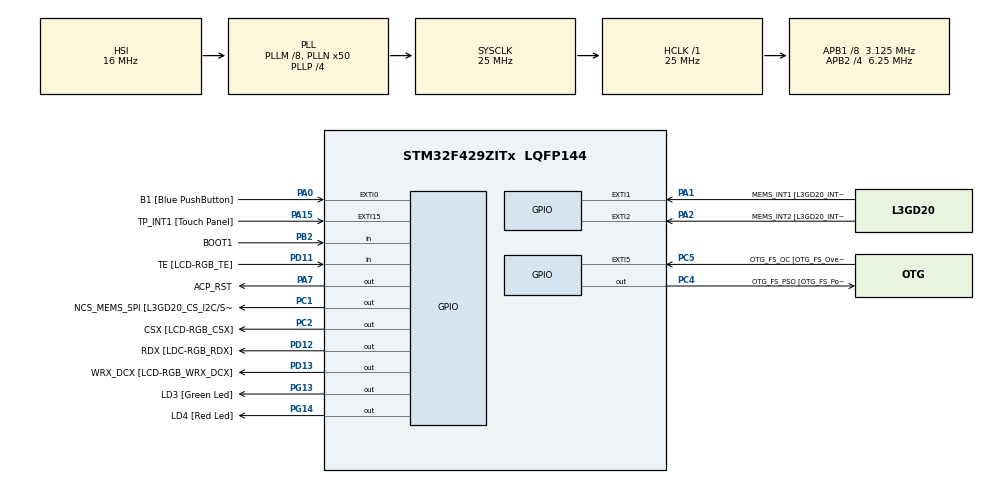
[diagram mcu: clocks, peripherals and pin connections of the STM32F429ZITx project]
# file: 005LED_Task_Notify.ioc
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Mcu.Family=STM32F4
Mcu.Name=STM32F429ZITx
Mcu.Package=LQFP144
NVIC.PriorityGroup=NVIC_PRIORITYGROUP_4
NVIC.TIM6_DAC_IRQn=true\:0\:0\:false\:false\:true\:false\:true
NVIC.TimeBase=TIM6_DAC_IRQn
NVIC.TimeBaseIP=TIM6
PA0/WKUP.GPIO_Label=B1 [Blue PushButton]
PA0/WKUP.GPIO_ModeDefaultEXTI=GPIO_MODE_EVT_RISING
PA0/WKUP.GPIO_PuPd=GPIO_NOPULL
PA0/WKUP.Signal=GPXTI0
PA1.GPIO_Label=MEMS_INT1 [L3GD20_INT1]
PA1.GPIO_ModeDefaultEXTI=GPIO_MODE_EVT_RISING
PA1.GPIO_PuPd=GPIO_NOPULL
PA1.Signal=GPXTI1
PA10.GPIO_Label=STLINK_TX [STM32F103CBT6_PA2]
PA10.Signal=USART1_RX
PA11.GPIO_Label=R4
PA11.GPIO_Mode=GPIO_MODE_AF_PP
PA11.GPIO_PuPd=GPIO_NOPULL
PA11.GPIO_Speed=GPIO_SPEED_FREQ_LOW
PA11.Signal=LTDC_R4
PA12.GPIO_Label=R5
PA12.GPIO_Mode=GPIO_MODE_AF_PP
PA12.GPIO_PuPd=GPIO_NOPULL
PA12.GPIO_Speed=GPIO_SPEED_FREQ_LOW
PA12.Signal=LTDC_R5
PA13.GPIO_Label=SWDIO
PA13.Signal=SYS_JTMS-SWDIO
PA14.GPIO_Label=SWCLK
PA14.Signal=SYS_JTCK-SWCLK
PA15.GPIO_Label=TP_INT1 [Touch Panel]
PA15.GPIO_ModeDefaultEXTI=GPIO_MODE_EVT_RISING
PA15.GPIO_PuPd=GPIO_NOPULL
PA15.Signal=GPXTI15
PA2.GPIO_Label=MEMS_INT2 [L3GD20_INT2]
PA2.GPIO_ModeDefaultEXTI=GPIO_MODE_EVT_RISING
PA2.GPIO_PuPd=GPIO_NOPULL
PA2.Signal=GPXTI2
PA3.GPIO_Label=B5
PA3.GPIO_Mode=GPIO_MODE_AF_PP
PA3.GPIO_PuPd=GPIO_NOPULL
PA3.GPIO_Speed=GPIO_SPEED_FREQ_LOW
PA3.Signal=LTDC_B5
PA4.GPIO_Label=VSYNC
PA4.GPIO_Mode=GPIO_MODE_AF_PP
PA4.GPIO_PuPd=GPIO_NOPULL
PA4.GPIO_Speed=GPIO_SPEED_FREQ_LOW
PA4.Signal=LTDC_VSYNC
PA6.GPIO_Label=G2
PA6.GPIO_Mode=GPIO_MODE_AF_PP
PA6.GPIO_PuPd=GPIO_NOPULL
PA6.GPIO_Speed=GPIO_SPEED_FREQ_LOW
PA6.Signal=LTDC_G2
PA7.GPIO_Label=ACP_RST
PA7.GPIO_Mode=GPIO_MODE_OUTPUT_PP
PA7.GPIO_PuPd=GPIO_NOPULL
PA7.GPIO_Speed=GPIO_SPEED_FREQ_LOW
PA7.Signal=GPIO_Output
PA8.GPIO_Label=I2C3_SCL [ACP/RF_SCL]
PA8.GPIO_Mode=GPIO_MODE_AF_OD
PA8.GPIO_PuPd=GPIO_NOPULL
PA8.GPIO_Speed=GPIO_SPEED_FREQ_LOW
PA8.Signal=I2C3_SCL
PA9.GPIO_Label=STLINK_RX [STM32F103CBT6_PA3]
PA9.Signal=USART1_TX
PB0.GPIO_Label=R3
PB0.GPIO_Mode=GPIO_MODE_AF_PP
PB0.GPIO_PuPd=GPIO_NOPULL
PB0.GPIO_Speed=GPIO_SPEED_FREQ_LOW
PB0.Signal=LTDC_R3
PB1.GPIO_Label=R6
PB1.GPIO_Mode=GPIO_MODE_AF_PP
PB1.GPIO_PuPd=GPIO_NOPULL
PB1.GPIO_Speed=GPIO_SPEED_FREQ_LOW
PB1.Signal=LTDC_R6
PB10.GPIO_Label=G4
PB10.GPIO_Mode=GPIO_MODE_AF_PP
PB10.GPIO_PuPd=GPIO_NOPULL
PB10.GPIO_Speed=GPIO_SPEED_FREQ_LOW
PB10.Signal=LTDC_G4
PB11.GPIO_Label=G5
PB11.GPIO_Mode=GPIO_MODE_AF_PP
PB11.GPIO_PuPd=GPIO_NOPULL
PB11.GPIO_Speed=GPIO_SPEED_FREQ_LOW
PB11.Signal=LTDC_G5
PB12.GPIO_Label=OTG_HS_ID
PB12.GPIO_Mode=GPIO_MODE_AF_PP
PB12.GPIO_PuPd=GPIO_NOPULL
PB12.GPIO_Speed=GPIO_SPEED_FREQ_LOW
PB12.Signal=USB_OTG_HS_ID
PB13.GPIO_Label=VBUS_HS
PB13.GPIO_Mode=GPIO_MODE_INPUT
PB13.GPIO_PuPd=GPIO_NOPULL
PB13.Signal=USB_OTG_HS_VBUS
PB14.GPIO_Label=OTG_HS_DM
PB14.GPIO_Mode=GPIO_MODE_AF_PP
PB14.GPIO_PuPd=GPIO_NOPULL
PB14.GPIO_Speed=GPIO_SPEED_FREQ_LOW
PB14.Signal=USB_OTG_HS_DM
PB15.GPIO_Label=OTG_HS_DP
PB15.GPIO_Mode=GPIO_MODE_AF_PP
PB15.GPIO_PuPd=GPIO_NOPULL
PB15.GPIO_Speed=GPIO_SPEED_FREQ_LOW
PB15.Signal=USB_OTG_HS_DP
PB2/BOOT1.GPIO_Label=BOOT1
PB2/BOOT1.GPIO_Mode=GPIO_MODE_INPUT
PB2/BOOT1.GPIO_PuPd=GPIO_NOPULL
PB2/BOOT1.Signal=GPIO_Input
PB5.GPIO_Label=SDCKE1
PB5.GPIO_Mode=GPIO_MODE_AF_PP
PB5.GPIO_PuPd=GPIO_NOPULL
PB5.GPIO_Speed=GPIO_SPEED_FREQ_VERY_HIGH
PB5.Signal=FMC_SDCKE1
PB6.GPIO_Label=SDNE1 [SDRAM_CS]
PB6.GPIO_Mode=GPIO_MODE_AF_PP
PB6.GPIO_PuPd=GPIO_NOPULL
PB6.GPIO_Speed=GPIO_SPEED_FREQ_VERY_HIGH
PB6.Signal=FMC_SDNE1
PB8.GPIO_Label=B6
PB8.GPIO_Mode=GPIO_MODE_AF_PP
PB8.GPIO_PuPd=GPIO_NOPULL
PB8.GPIO_Speed=GPIO_SPEED_FREQ_LOW
PB8.Signal=LTDC_B6
PB9.GPIO_Label=B7
PB9.GPIO_Mode=GPIO_MODE_AF_PP
PB9.GPIO_PuPd=GPIO_NOPULL
PB9.GPIO_Speed=GPIO_SPEED_FREQ_LOW
PB9.Signal=LTDC_B7
PC0.GPIO_Label=SDNWE
PC0.GPIO_Mode=GPIO_MODE_AF_PP
PC0.GPIO_PuPd=GPIO_NOPULL
PC0.GPIO_Speed=GPIO_SPEED_FREQ_VERY_HIGH
PC0.Signal=FMC_SDNWE
PC1.GPIO_Label=NCS_MEMS_SPI [L3GD20_CS_I2C/SPI]
PC1.GPIO_Mode=GPIO_MODE_OUTPUT_PP
PC1.GPIO_PuPd=GPIO_NOPULL
PC1.GPIO_Speed=GPIO_SPEED_FREQ_LOW
PC1.Signal=GPIO_Output
PC10.GPIO_Label=R2
PC10.GPIO_Mode=GPIO_MODE_AF_PP
PC10.GPIO_PuPd=GPIO_NOPULL
PC10.GPIO_Speed=GPIO_SPEED_FREQ_LOW
PC10.Signal=LTDC_R2
PC14/OSC32_IN.GPIO_Label=PC14-OSC32_IN
PC14/OSC32_IN.Signal=RCC_OSC32_IN
PC15/OSC32_OUT.GPIO_Label=PC15-OSC32_OUT
PC15/OSC32_OUT.Signal=RCC_OSC32_OUT
PC2.GPIO_Label=CSX [LCD-RGB_CSX]
PC2.GPIO_Mode=GPIO_MODE_OUTPUT_PP
PC2.GPIO_PuPd=GPIO_NOPULL
PC2.GPIO_Speed=GPIO_SPEED_FREQ_LOW
PC2.Signal=GPIO_Output
PC4.GPIO_Label=OTG_FS_PSO [OTG_FS_PowerSwitchOn]
PC4.GPIO_Mode=GPIO_MODE_OUTPUT_PP
PC4.GPIO_PuPd=GPIO_NOPULL
PC4.GPIO_Speed=GPIO_SPEED_FREQ_LOW
PC4.Signal=GPIO_Output
PC5.GPIO_Label=OTG_FS_OC [OTG_FS_OverCurrent]
PC5.GPIO_ModeDefaultEXTI=GPIO_MODE_EVT_RISING
PC5.Signal=GPXTI5
PC6.GPIO_Label=HSYNC
PC6.GPIO_Mode=GPIO_MODE_AF_PP
PC6.GPIO_PuPd=GPIO_NOPULL
PC6.GPIO_Speed=GPIO_SPEED_FREQ_LOW
PC6.Signal=LTDC_HSYNC
PC7.GPIO_Label=G6
PC7.GPIO_Mode=GPIO_MODE_AF_PP
PC7.GPIO_PuPd=GPIO_NOPULL
PC7.GPIO_Speed=GPIO_SPEED_FREQ_LOW
PC7.Signal=LTDC_G6
PC9.GPIO_Label=I2C3_SDA [ACP/RF_SDA]
PC9.GPIO_Mode=GPIO_MODE_AF_OD
PC9.GPIO_PuPd=GPIO_NOPULL
PC9.GPIO_Speed=GPIO_SPEED_FREQ_LOW
PC9.Signal=I2C3_SDA
PD0.GPIO_Label=D2
PD0.GPIO_Mode=GPIO_MODE_AF_PP
PD0.GPIO_PuPd=GPIO_NOPULL
PD0.GPIO_Speed=GPIO_SPEED_FREQ_VERY_HIGH
PD0.Signal=FMC_D2_DA2
PD1.GPIO_Label=D3
PD1.GPIO_Mode=GPIO_MODE_AF_PP
PD1.GPIO_PuPd=GPIO_NOPULL
PD1.GPIO_Speed=GPIO_SPEED_FREQ_VERY_HIGH
PD1.Signal=FMC_D3_DA3
PD10.GPIO_Label=D15
PD10.GPIO_Mode=GPIO_MODE_AF_PP
PD10.GPIO_PuPd=GPIO_NOPULL
PD10.GPIO_Speed=GPIO_SPEED_FREQ_VERY_HIGH
PD10.Signal=FMC_D15_DA15
PD11.GPIO_Label=TE [LCD-RGB_TE]
PD11.GPIO_Mode=GPIO_MODE_INPUT
PD11.GPIO_PuPd=GPIO_NOPULL
PD11.Signal=GPIO_Input
PD12.GPIO_Label=RDX [LDC-RGB_RDX]
PD12.GPIO_Mode=GPIO_MODE_OUTPUT_PP
PD12.GPIO_PuPd=GPIO_NOPULL
PD12.GPIO_Speed=GPIO_SPEED_FREQ_LOW
PD12.Signal=GPIO_Output
PD13.GPIO_Label=WRX_DCX [LCD-RGB_WRX_DCX]
PD13.GPIO_Mode=GPIO_MODE_OUTPUT_PP
PD13.GPIO_PuPd=GPIO_NOPULL
PD13.GPIO_Speed=GPIO_SPEED_FREQ_LOW
PD13.Signal=GPIO_Output
PD14.GPIO_Label=D0
PD14.GPIO_Mode=GPIO_MODE_AF_PP
PD14.GPIO_PuPd=GPIO_NOPULL
PD14.GPIO_Speed=GPIO_SPEED_FREQ_VERY_HIGH
PD14.Signal=FMC_D0_DA0
PD15.GPIO_Label=D1
PD15.GPIO_Mode=GPIO_MODE_AF_PP
PD15.GPIO_PuPd=GPIO_NOPULL
PD15.GPIO_Speed=GPIO_SPEED_FREQ_VERY_HIGH
PD15.Signal=FMC_D1_DA1
PD3.GPIO_Label=G7
PD3.GPIO_Mode=GPIO_MODE_AF_PP
PD3.GPIO_PuPd=GPIO_NOPULL
PD3.GPIO_Speed=GPIO_SPEED_FREQ_LOW
PD3.Signal=LTDC_G7
PD6.GPIO_Label=B2
PD6.GPIO_Mode=GPIO_MODE_AF_PP
PD6.GPIO_PuPd=GPIO_NOPULL
PD6.GPIO_Speed=GPIO_SPEED_FREQ_LOW
PD6.Signal=LTDC_B2
PD8.GPIO_Label=D13
PD8.GPIO_Mode=GPIO_MODE_AF_PP
PD8.GPIO_PuPd=GPIO_NOPULL
PD8.GPIO_Speed=GPIO_SPEED_FREQ_VERY_HIGH
PD8.Signal=FMC_D13_DA13
PD9.GPIO_Label=D14
PD9.GPIO_Mode=GPIO_MODE_AF_PP
PD9.GPIO_PuPd=GPIO_NOPULL
PD9.GPIO_Speed=GPIO_SPEED_FREQ_VERY_HIGH
PD9.Signal=FMC_D14_DA14
PE0.GPIO_Label=NBL0 [SDRAM_LDQM]
PE0.GPIO_Mode=GPIO_MODE_AF_PP
PE0.GPIO_PuPd=GPIO_NOPULL
PE0.GPIO_Speed=GPIO_SPEED_FREQ_VERY_HIGH
PE0.Signal=FMC_NBL0
PE1.GPIO_Label=NBL1 [SDRAM_UDQM]
PE1.GPIO_Mode=GPIO_MODE_AF_PP
PE1.GPIO_PuPd=GPIO_NOPULL
PE1.GPIO_Speed=GPIO_SPEED_FREQ_VERY_HIGH
PE1.Signal=FMC_NBL1
PE10.GPIO_Label=D7
PE10.GPIO_Mode=GPIO_MODE_AF_PP
PE10.GPIO_PuPd=GPIO_NOPULL
PE10.GPIO_Speed=GPIO_SPEED_FREQ_VERY_HIGH
PE10.Signal=FMC_D7_DA7
PE11.GPIO_Label=D8
PE11.GPIO_Mode=GPIO_MODE_AF_PP
PE11.GPIO_PuPd=GPIO_NOPULL
PE11.GPIO_Speed=GPIO_SPEED_FREQ_VERY_HIGH
PE11.Signal=FMC_D8_DA8
PE12.GPIO_Label=D9
PE12.GPIO_Mode=GPIO_MODE_AF_PP
PE12.GPIO_PuPd=GPIO_NOPULL
PE12.GPIO_Speed=GPIO_SPEED_FREQ_VERY_HIGH
PE12.Signal=FMC_D9_DA9
PE13.GPIO_Label=D10
PE13.GPIO_Mode=GPIO_MODE_AF_PP
PE13.GPIO_PuPd=GPIO_NOPULL
PE13.GPIO_Speed=GPIO_SPEED_FREQ_VERY_HIGH
PE13.Signal=FMC_D10_DA10
PE14.GPIO_Label=D11
PE14.GPIO_Mode=GPIO_MODE_AF_PP
PE14.GPIO_PuPd=GPIO_NOPULL
PE14.GPIO_Speed=GPIO_SPEED_FREQ_VERY_HIGH
PE14.Signal=FMC_D11_DA11
PE15.GPIO_Label=D12
PE15.GPIO_Mode=GPIO_MODE_AF_PP
PE15.GPIO_PuPd=GPIO_NOPULL
PE15.GPIO_Speed=GPIO_SPEED_FREQ_VERY_HIGH
PE15.Signal=FMC_D12_DA12
PE7.GPIO_Label=D4
PE7.GPIO_Mode=GPIO_MODE_AF_PP
PE7.GPIO_PuPd=GPIO_NOPULL
PE7.GPIO_Speed=GPIO_SPEED_FREQ_VERY_HIGH
PE7.Signal=FMC_D4_DA4
PE8.GPIO_Label=D5
PE8.GPIO_Mode=GPIO_MODE_AF_PP
PE8.GPIO_PuPd=GPIO_NOPULL
PE8.GPIO_Speed=GPIO_SPEED_FREQ_VERY_HIGH
PE8.Signal=FMC_D5_DA5
PE9.GPIO_Label=D6
PE9.GPIO_Mode=GPIO_MODE_AF_PP
PE9.GPIO_PuPd=GPIO_NOPULL
PE9.GPIO_Speed=GPIO_SPEED_FREQ_VERY_HIGH
PE9.Signal=FMC_D6_DA6
PF0.GPIO_Label=A0
PF0.GPIO_Mode=GPIO_MODE_AF_PP
PF0.GPIO_PuPd=GPIO_NOPULL
PF0.GPIO_Speed=GPIO_SPEED_FREQ_VERY_HIGH
PF0.Signal=FMC_A0
PF1.GPIO_Label=A1
PF1.GPIO_Mode=GPIO_MODE_AF_PP
PF1.GPIO_PuPd=GPIO_NOPULL
PF1.GPIO_Speed=GPIO_SPEED_FREQ_VERY_HIGH
PF1.Signal=FMC_A1
PF10.GPIO_Label=ENABLE [LCD-RGB_ENABLE]
PF10.GPIO_Mode=GPIO_MODE_AF_PP
PF10.GPIO_PuPd=GPIO_NOPULL
PF10.GPIO_Speed=GPIO_SPEED_FREQ_LOW
PF10.Signal=LTDC_DE
PF11.GPIO_Label=SDNRAS
PF11.GPIO_Mode=GPIO_MODE_AF_PP
PF11.GPIO_PuPd=GPIO_NOPULL
PF11.GPIO_Speed=GPIO_SPEED_FREQ_VERY_HIGH
PF11.Signal=FMC_SDNRAS
PF12.GPIO_Label=A6
PF12.GPIO_Mode=GPIO_MODE_AF_PP
PF12.GPIO_PuPd=GPIO_NOPULL
PF12.GPIO_Speed=GPIO_SPEED_FREQ_VERY_HIGH
PF12.Signal=FMC_A6
PF13.GPIO_Label=A7
PF13.GPIO_Mode=GPIO_MODE_AF_PP
PF13.GPIO_PuPd=GPIO_NOPULL
PF13.GPIO_Speed=GPIO_SPEED_FREQ_VERY_HIGH
PF13.Signal=FMC_A7
PF14.GPIO_Label=A8
PF14.GPIO_Mode=GPIO_MODE_AF_PP
PF14.GPIO_PuPd=GPIO_NOPULL
PF14.GPIO_Speed=GPIO_SPEED_FREQ_VERY_HIGH
PF14.Signal=FMC_A8
PF15.GPIO_Label=A9
PF15.GPIO_Mode=GPIO_MODE_AF_PP
PF15.GPIO_PuPd=GPIO_NOPULL
PF15.GPIO_Speed=GPIO_SPEED_FREQ_VERY_HIGH
PF15.Signal=FMC_A9
PF2.GPIO_Label=A2
PF2.GPIO_Mode=GPIO_MODE_AF_PP
PF2.GPIO_PuPd=GPIO_NOPULL
PF2.GPIO_Speed=GPIO_SPEED_FREQ_VERY_HIGH
PF2.Signal=FMC_A2
PF3.GPIO_Label=A3
PF3.GPIO_Mode=GPIO_MODE_AF_PP
PF3.GPIO_PuPd=GPIO_NOPULL
PF3.GPIO_Speed=GPIO_SPEED_FREQ_VERY_HIGH
PF3.Signal=FMC_A3
PF4.GPIO_Label=A4
PF4.GPIO_Mode=GPIO_MODE_AF_PP
PF4.GPIO_PuPd=GPIO_NOPULL
PF4.GPIO_Speed=GPIO_SPEED_FREQ_VERY_HIGH
PF4.Signal=FMC_A4
PF5.GPIO_Label=A5
PF5.GPIO_Mode=GPIO_MODE_AF_PP
PF5.GPIO_PuPd=GPIO_NOPULL
PF5.GPIO_Speed=GPIO_SPEED_FREQ_VERY_HIGH
PF5.Signal=FMC_A5
PF7.GPIO_Label=SPI5_SCK [L3GD20_SCL/SPC]
PF7.GPIO_Mode=GPIO_MODE_AF_PP
PF7.GPIO_PuPd=GPIO_NOPULL
PF7.GPIO_Speed=GPIO_SPEED_FREQ_LOW
PF7.Signal=SPI5_SCK
PF8.GPIO_Label=SPI5_MISO [L3GD20_SDO]
PF8.GPIO_Mode=GPIO_MODE_AF_PP
PF8.GPIO_PuPd=GPIO_NOPULL
PF8.GPIO_Speed=GPIO_SPEED_FREQ_LOW
PF8.Signal=SPI5_MISO
PF9.GPIO_Label=SPI5_MOSI [L3GD20_SDA/SDI/SDO]
PF9.GPIO_Mode=GPIO_MODE_AF_PP
PF9.GPIO_PuPd=GPIO_NOPULL
PF9.GPIO_Speed=GPIO_SPEED_FREQ_LOW
PF9.Signal=SPI5_MOSI
PG0.GPIO_Label=A10
PG0.GPIO_Mode=GPIO_MODE_AF_PP
PG0.GPIO_PuPd=GPIO_NOPULL
PG0.GPIO_Speed=GPIO_SPEED_FREQ_VERY_HIGH
PG0.Signal=FMC_A10
PG1.GPIO_Label=A11
PG1.GPIO_Mode=GPIO_MODE_AF_PP
PG1.GPIO_PuPd=GPIO_NOPULL
PG1.GPIO_Speed=GPIO_SPEED_FREQ_VERY_HIGH
PG1.Signal=FMC_A11
PG10.GPIO_Label=G3
PG10.GPIO_Mode=GPIO_MODE_AF_PP
PG10.GPIO_PuPd=GPIO_NOPULL
PG10.GPIO_Speed=GPIO_SPEED_FREQ_LOW
PG10.Signal=LTDC_G3
PG11.GPIO_Label=B3
PG11.GPIO_Mode=GPIO_MODE_AF_PP
PG11.GPIO_PuPd=GPIO_NOPULL
PG11.GPIO_Speed=GPIO_SPEED_FREQ_LOW
PG11.Signal=LTDC_B3
PG12.GPIO_Label=B4
PG12.GPIO_Mode=GPIO_MODE_AF_PP
PG12.GPIO_PuPd=GPIO_NOPULL
PG12.GPIO_Speed=GPIO_SPEED_FREQ_LOW
PG12.Signal=LTDC_B4
PG13.GPIO_Label=LD3 [Green Led]
PG13.GPIO_Mode=GPIO_MODE_OUTPUT_PP
PG13.GPIO_PuPd=GPIO_NOPULL
PG13.GPIO_Speed=GPIO_SPEED_FREQ_LOW
PG13.Signal=GPIO_Output
PG14.GPIO_Label=LD4 [Red Led]
PG14.GPIO_Mode=GPIO_MODE_OUTPUT_PP
PG14.GPIO_PuPd=GPIO_NOPULL
PG14.GPIO_Speed=GPIO_SPEED_FREQ_LOW
PG14.Signal=GPIO_Output
PG15.GPIO_Label=SDNCAS
PG15.GPIO_Mode=GPIO_MODE_AF_PP
PG15.GPIO_PuPd=GPIO_NOPULL
PG15.GPIO_Speed=GPIO_SPEED_FREQ_VERY_HIGH
PG15.Signal=FMC_SDNCAS
PG4.GPIO_Label=BA0
PG4.GPIO_Mode=GPIO_MODE_AF_PP
PG4.GPIO_PuPd=GPIO_NOPULL
PG4.GPIO_Speed=GPIO_SPEED_FREQ_VERY_HIGH
PG4.Signal=FMC_A14_BA0
PG5.GPIO_Label=BA1
PG5.GPIO_Mode=GPIO_MODE_AF_PP
PG5.GPIO_PuPd=GPIO_NOPULL
PG5.GPIO_Speed=GPIO_SPEED_FREQ_VERY_HIGH
PG5.Signal=FMC_A15_BA1
PG6.GPIO_Label=R7
PG6.GPIO_Mode=GPIO_MODE_AF_PP
PG6.GPIO_PuPd=GPIO_NOPULL
PG6.GPIO_Speed=GPIO_SPEED_FREQ_LOW
PG6.Signal=LTDC_R7
PG7.GPIO_Label=DOTCLK [LCT-RGB_DOTCLK]
PG7.GPIO_Mode=GPIO_MODE_AF_PP
PG7.GPIO_PuPd=GPIO_NOPULL
PG7.GPIO_Speed=GPIO_SPEED_FREQ_LOW
PG7.Signal=LTDC_CLK
PG8.GPIO_Label=SDCLK
PG8.GPIO_Mode=GPIO_MODE_AF_PP
PG8.GPIO_PuPd=GPIO_NOPULL
PG8.GPIO_Speed=GPIO_SPEED_FREQ_VERY_HIGH
PG8.Signal=FMC_SDCLK
PH0/OSC_IN.GPIO_Label=PH0-OSC_IN
PH0/OSC_IN.Signal=RCC_OSC_IN
PH1/OSC_OUT.GPIO_Label=PH1-OSC_OUT
PH1/OSC_OUT.Signal=RCC_OSC_OUT
ProjectManager.HeapSize=0x200
ProjectManager.StackSize=0x400
ProjectManager.TargetToolchain=STM32CubeIDE
RCC.48MHZClocksFreq_Value=14285714.285714285
RCC.AHBFreq_Value=25000000
RCC.APB1CLKDivider=RCC_HCLK_DIV8
RCC.APB1Freq_Value=3125000
RCC.APB1TimFreq_Value=6250000
RCC.APB2CLKDivider=RCC_HCLK_DIV4
RCC.APB2Freq_Value=6250000
RCC.APB2TimFreq_Value=12500000
RCC.CortexFreq_Value=25000000
RCC.HCLKFreq_Value=25000000
RCC.HSE_VALUE=8000000
RCC.HSI_VALUE=16000000
RCC.LSE_VALUE=32768
RCC.PLLM=8
RCC.PLLN=50
RCC.PLLP=RCC_PLLP_DIV4
RCC.PLLQ=7
RCC.SYSCLKFreq_VALUE=25000000
RCC.SYSCLKSource=RCC_SYSCLKSOURCE_PLLCLK
RCC.VCOOutputFreq_Value=100000000
SH.FMC_A0.0=FMC_A0
SH.FMC_A1.0=FMC_A1
SH.FMC_A10.0=FMC_A10
SH.FMC_A11.0=FMC_A11
SH.FMC_A14_BA0.0=FMC_BA0
SH.FMC_A15_BA1.0=FMC_BA1
SH.FMC_A2.0=FMC_A2
SH.FMC_A3.0=FMC_A3
SH.FMC_A4.0=FMC_A4
SH.FMC_A5.0=FMC_A5
SH.FMC_A6.0=FMC_A6
SH.FMC_A7.0=FMC_A7
SH.FMC_A8.0=FMC_A8
SH.FMC_A9.0=FMC_A9
SH.FMC_D0_DA0.0=FMC_D0
SH.FMC_D10_DA10.0=FMC_D10
SH.FMC_D11_DA11.0=FMC_D11
SH.FMC_D12_DA12.0=FMC_D12
SH.FMC_D13_DA13.0=FMC_D13
SH.FMC_D14_DA14.0=FMC_D14
SH.FMC_D15_DA15.0=FMC_D15
SH.FMC_D1_DA1.0=FMC_D1
SH.FMC_D2_DA2.0=FMC_D2
SH.FMC_D3_DA3.0=FMC_D3
SH.FMC_D4_DA4.0=FMC_D4
SH.FMC_D5_DA5.0=FMC_D5
SH.FMC_D6_DA6.0=FMC_D6
SH.FMC_D7_DA7.0=FMC_D7
SH.FMC_D8_DA8.0=FMC_D8
SH.FMC_D9_DA9.0=FMC_D9
SH.FMC_NBL0.0=FMC_NBL0
SH.FMC_NBL1.0=FMC_NBL1
SH.FMC_SDCLK.0=FMC_SDCLK
SH.FMC_SDNCAS.0=FMC_SDNCAS
SH.FMC_SDNRAS.0=FMC_SDNRAS
SH.FMC_SDNWE.0=FMC_SDNWE
VP_SYS_VS_tim6.Mode=TIM6
board=STM32F429I-DISC1

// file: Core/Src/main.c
/* USER CODE BEGIN Header */
/**
  ******************************************************************************
  * @file           : main.c
  * @brief          : Main program body
  ******************************************************************************
  * @attention
  *
  * <h2><center>&copy; Copyright (c) 2021 STMicroelectronics.
  * All rights reserved.</center></h2>
  *
  * This software component is licensed by ST under BSD 3-Clause license,
  * the "License"; You may not use this file except in compliance with the
  * License. You may obtain a copy of the License at:
  *                        opensource.org/licenses/BSD-3-Clause
  *
  ******************************************************************************
  */
/* USER CODE END Header */
#include "main.h"

/* USER CODE BEGIN Includes */
#include "FreeRTOS.h"
#include "task.h"

/* USER CODE END Includes */

/* USER CODE BEGIN PV */

#define DWT_CTRL    (*(volatile uint32_t*)0xE0001000)

/* USER CODE END PV */

void SystemClock_Config(void);
static void MX_GPIO_Init(void);
/* USER CODE BEGIN PFP */

static void led_green_handler(void* parameters);
//static void led_orange_handler(void* parameters);
static void led_red_handler(void* parameters);
static void button_handler(void* parameters);

//extern void SEGGER_UART_init(uint32_t);

TaskHandle_t ledg_task_handle;
//TaskHandle_t ledo_task_handle;
TaskHandle_t ledr_task_handle;
TaskHandle_t btn_task_handle;

TaskHandle_t volatile next_task_handle = NULL;

/* USER CODE END PFP */

int main(void)
{
  /* USER CODE BEGIN 1 */
	BaseType_t status;

  /* USER CODE END 1 */

  /* MCU Configuration--------------------------------------------------------*/

  /* Reset of all peripherals, Initializes the Flash interface and the Systick. */
  HAL_Init();

  /* Configure the system clock */
  SystemClock_Config();

  /* Initialize all configured peripherals */
  MX_GPIO_Init();
  /* USER CODE BEGIN 2 */
  //CYCLCNT enable
   DWT_CTRL |= ( 1 << 0);

   SEGGER_SYSVIEW_Conf();
   SEGGER_SYSVIEW_Start();

   status = xTaskCreate(led_green_handler, "LED_green_task", 200, NULL, 3, &ledg_task_handle);

   configASSERT(status == pdPASS);

   next_task_handle = ledg_task_handle;

   status = xTaskCreate(led_red_handler, "LED_red_task", 200,NULL, 1, &ledr_task_handle);

   configASSERT(status == pdPASS);

   status = xTaskCreate(button_handler, "Button Task", 200, NULL, 4, &btn_task_handle);

   configASSERT(status == pdPASS);

   //start the freeRTOS scheduler
   vTaskStartScheduler();

  /* USER CODE END 2 */

  /* Infinite loop */
  while (1)
  {

  }
}

void SystemClock_Config(void)
{
  RCC_OscInitTypeDef RCC_OscInitStruct = {0};
  RCC_ClkInitTypeDef RCC_ClkInitStruct = {0};

  /** Configure the main internal regulator output voltage
  */
  __HAL_RCC_PWR_CLK_ENABLE();
  __HAL_PWR_VOLTAGESCALING_CONFIG(PWR_REGULATOR_VOLTAGE_SCALE3);
  /** Initializes the RCC Oscillators according to the specified parameters
  * in the RCC_OscInitTypeDef structure.
  */
  RCC_OscInitStruct.OscillatorType = RCC_OSCILLATORTYPE_HSI;
  RCC_OscInitStruct.HSIState = RCC_HSI_ON;
  RCC_OscInitStruct.HSICalibrationValue = RCC_HSICALIBRATION_DEFAULT;
  RCC_OscInitStruct.PLL.PLLState = RCC_PLL_ON;
  RCC_OscInitStruct.PLL.PLLSource = RCC_PLLSOURCE_HSI;
  RCC_OscInitStruct.PLL.PLLM = 8;
  RCC_OscInitStruct.PLL.PLLN = 50;
  RCC_OscInitStruct.PLL.PLLP = RCC_PLLP_DIV4;
  RCC_OscInitStruct.PLL.PLLQ = 7;
  if (HAL_RCC_OscConfig(&RCC_OscInitStruct) != HAL_OK)
  {
    Error_Handler();
  }
  /** Initializes the CPU, AHB and APB buses clocks
  */
  RCC_ClkInitStruct.ClockType = RCC_CLOCKTYPE_HCLK|RCC_CLOCKTYPE_SYSCLK
                              |RCC_CLOCKTYPE_PCLK1|RCC_CLOCKTYPE_PCLK2;
  RCC_ClkInitStruct.SYSCLKSource = RCC_SYSCLKSOURCE_PLLCLK;
  RCC_ClkInitStruct.AHBCLKDivider = RCC_SYSCLK_DIV1;
  RCC_ClkInitStruct.APB1CLKDivider = RCC_HCLK_DIV8;
  RCC_ClkInitStruct.APB2CLKDivider = RCC_HCLK_DIV4;

  if (HAL_RCC_ClockConfig(&RCC_ClkInitStruct, FLASH_LATENCY_0) != HAL_OK)
  {
    Error_Handler();
  }
}

static void MX_GPIO_Init(void)
{
  GPIO_InitTypeDef GPIO_InitStruct = {0};

  /* GPIO Ports Clock Enable */
  __HAL_RCC_GPIOC_CLK_ENABLE();
  __HAL_RCC_GPIOF_CLK_ENABLE();
  __HAL_RCC_GPIOH_CLK_ENABLE();
  __HAL_RCC_GPIOA_CLK_ENABLE();
  __HAL_RCC_GPIOB_CLK_ENABLE();
  __HAL_RCC_GPIOG_CLK_ENABLE();
  __HAL_RCC_GPIOE_CLK_ENABLE();
  __HAL_RCC_GPIOD_CLK_ENABLE();

  /*Configure GPIO pin Output Level */
  HAL_GPIO_WritePin(GPIOC, NCS_MEMS_SPI_Pin|CSX_Pin|OTG_FS_PSO_Pin, GPIO_PIN_RESET);

  /*Configure GPIO pin Output Level */
  HAL_GPIO_WritePin(ACP_RST_GPIO_Port, ACP_RST_Pin, GPIO_PIN_RESET);

  /*Configure GPIO pin Output Level */
  HAL_GPIO_WritePin(GPIOD, RDX_Pin|WRX_DCX_Pin, GPIO_PIN_RESET);

  /*Configure GPIO pin Output Level */
  HAL_GPIO_WritePin(GPIOG, LD3_Pin|LD4_Pin, GPIO_PIN_RESET);

  /*Configure GPIO pins : A0_Pin A1_Pin A2_Pin A3_Pin
                           A4_Pin A5_Pin SDNRAS_Pin A6_Pin
                           A7_Pin A8_Pin A9_Pin */
  GPIO_InitStruct.Pin = A0_Pin|A1_Pin|A2_Pin|A3_Pin
                          |A4_Pin|A5_Pin|SDNRAS_Pin|A6_Pin
                          |A7_Pin|A8_Pin|A9_Pin;
  GPIO_InitStruct.Mode = GPIO_MODE_AF_PP;
  GPIO_InitStruct.Pull = GPIO_NOPULL;
  GPIO_InitStruct.Speed = GPIO_SPEED_FREQ_VERY_HIGH;
  GPIO_InitStruct.Alternate = GPIO_AF12_FMC;
  HAL_GPIO_Init(GPIOF, &GPIO_InitStruct);

  /*Configure GPIO pins : SPI5_SCK_Pin SPI5_MISO_Pin SPI5_MOSI_Pin */
  GPIO_InitStruct.Pin = SPI5_SCK_Pin|SPI5_MISO_Pin|SPI5_MOSI_Pin;
  GPIO_InitStruct.Mode = GPIO_MODE_AF_PP;
  GPIO_InitStruct.Pull = GPIO_NOPULL;
  GPIO_InitStruct.Speed = GPIO_SPEED_FREQ_LOW;
  GPIO_InitStruct.Alternate = GPIO_AF5_SPI5;
  HAL_GPIO_Init(GPIOF, &GPIO_InitStruct);

  /*Configure GPIO pin : ENABLE_Pin */
  GPIO_InitStruct.Pin = ENABLE_Pin;
  GPIO_InitStruct.Mode = GPIO_MODE_AF_PP;
  GPIO_InitStruct.Pull = GPIO_NOPULL;
  GPIO_InitStruct.Speed = GPIO_SPEED_FREQ_LOW;
  GPIO_InitStruct.Alternate = GPIO_AF14_LTDC;
  HAL_GPIO_Init(ENABLE_GPIO_Port, &GPIO_InitStruct);

  /*Configure GPIO pin : SDNWE_Pin */
  GPIO_InitStruct.Pin = SDNWE_Pin;
  GPIO_InitStruct.Mode = GPIO_MODE_AF_PP;
  GPIO_InitStruct.Pull = GPIO_NOPULL;
  GPIO_InitStruct.Speed = GPIO_SPEED_FREQ_VERY_HIGH;
  GPIO_InitStruct.Alternate = GPIO_AF12_FMC;
  HAL_GPIO_Init(SDNWE_GPIO_Port, &GPIO_InitStruct);

  /*Configure GPIO pins : NCS_MEMS_SPI_Pin CSX_Pin OTG_FS_PSO_Pin */
  GPIO_InitStruct.Pin = NCS_MEMS_SPI_Pin|CSX_Pin|OTG_FS_PSO_Pin;
  GPIO_InitStruct.Mode = GPIO_MODE_OUTPUT_PP;
  GPIO_InitStruct.Pull = GPIO_NOPULL;
  GPIO_InitStruct.Speed = GPIO_SPEED_FREQ_LOW;
  HAL_GPIO_Init(GPIOC, &GPIO_InitStruct);

  /*Configure GPIO pins : B1_Pin MEMS_INT1_Pin MEMS_INT2_Pin TP_INT1_Pin */
  GPIO_InitStruct.Pin = B1_Pin|MEMS_INT1_Pin|MEMS_INT2_Pin|TP_INT1_Pin;
  GPIO_InitStruct.Mode = GPIO_MODE_EVT_RISING;
  GPIO_InitStruct.Pull = GPIO_NOPULL;
  HAL_GPIO_Init(GPIOA, &GPIO_InitStruct);

  /*Configure GPIO pins : B5_Pin VSYNC_Pin G2_Pin R4_Pin
                           R5_Pin */
  GPIO_InitStruct.Pin = B5_Pin|VSYNC_Pin|G2_Pin|R4_Pin
                          |R5_Pin;
  GPIO_InitStruct.Mode = GPIO_MODE_AF_PP;
  GPIO_InitStruct.Pull = GPIO_NOPULL;
  GPIO_InitStruct.Speed = GPIO_SPEED_FREQ_LOW;
  GPIO_InitStruct.Alternate = GPIO_AF14_LTDC;
  HAL_GPIO_Init(GPIOA, &GPIO_InitStruct);

  /*Configure GPIO pin : ACP_RST_Pin */
  GPIO_InitStruct.Pin = ACP_RST_Pin;
  GPIO_InitStruct.Mode = GPIO_MODE_OUTPUT_PP;
  GPIO_InitStruct.Pull = GPIO_NOPULL;
  GPIO_InitStruct.Speed = GPIO_SPEED_FREQ_LOW;
  HAL_GPIO_Init(ACP_RST_GPIO_Port, &GPIO_InitStruct);

  /*Configure GPIO pin : OTG_FS_OC_Pin */
  GPIO_InitStruct.Pin = OTG_FS_OC_Pin;
  GPIO_InitStruct.Mode = GPIO_MODE_EVT_RISING;
  GPIO_InitStruct.Pull = GPIO_NOPULL;
  HAL_GPIO_Init(OTG_FS_OC_GPIO_Port, &GPIO_InitStruct);

  /*Configure GPIO pins : R3_Pin R6_Pin */
  GPIO_InitStruct.Pin = R3_Pin|R6_Pin;
  GPIO_InitStruct.Mode = GPIO_MODE_AF_PP;
  GPIO_InitStruct.Pull = GPIO_NOPULL;
  GPIO_InitStruct.Speed = GPIO_SPEED_FREQ_LOW;
  GPIO_InitStruct.Alternate = GPIO_AF9_LTDC;
  HAL_GPIO_Init(GPIOB, &GPIO_InitStruct);

  /*Configure GPIO pin : BOOT1_Pin */
  GPIO_InitStruct.Pin = BOOT1_Pin;
  GPIO_InitStruct.Mode = GPIO_MODE_INPUT;
  GPIO_InitStruct.Pull = GPIO_NOPULL;
  HAL_GPIO_Init(BOOT1_GPIO_Port, &GPIO_InitStruct);

  /*Configure GPIO pins : A10_Pin A11_Pin BA0_Pin BA1_Pin
                           SDCLK_Pin SDNCAS_Pin */
  GPIO_InitStruct.Pin = A10_Pin|A11_Pin|BA0_Pin|BA1_Pin
                          |SDCLK_Pin|SDNCAS_Pin;
  GPIO_InitStruct.Mode = GPIO_MODE_AF_PP;
  GPIO_InitStruct.Pull = GPIO_NOPULL;
  GPIO_InitStruct.Speed = GPIO_SPEED_FREQ_VERY_HIGH;
  GPIO_InitStruct.Alternate = GPIO_AF12_FMC;
  HAL_GPIO_Init(GPIOG, &GPIO_InitStruct);

  /*Configure GPIO pins : D4_Pin D5_Pin D6_Pin D7_Pin
                           D8_Pin D9_Pin D10_Pin D11_Pin
                           D12_Pin NBL0_Pin NBL1_Pin */
  GPIO_InitStruct.Pin = D4_Pin|D5_Pin|D6_Pin|D7_Pin
                          |D8_Pin|D9_Pin|D10_Pin|D11_Pin
                          |D12_Pin|NBL0_Pin|NBL1_Pin;
  GPIO_InitStruct.Mode = GPIO_MODE_AF_PP;
  GPIO_InitStruct.Pull = GPIO_NOPULL;
  GPIO_InitStruct.Speed = GPIO_SPEED_FREQ_VERY_HIGH;
  GPIO_InitStruct.Alternate = GPIO_AF12_FMC;
  HAL_GPIO_Init(GPIOE, &GPIO_InitStruct);

  /*Configure GPIO pins : G4_Pin G5_Pin B6_Pin B7_Pin */
  GPIO_InitStruct.Pin = G4_Pin|G5_Pin|B6_Pin|B7_Pin;
  GPIO_InitStruct.Mode = GPIO_MODE_AF_PP;
  GPIO_InitStruct.Pull = GPIO_NOPULL;
  GPIO_InitStruct.Speed = GPIO_SPEED_FREQ_LOW;
  GPIO_InitStruct.Alternate = GPIO_AF14_LTDC;
  HAL_GPIO_Init(GPIOB, &GPIO_InitStruct);

  /*Configure GPIO pins : OTG_HS_ID_Pin OTG_HS_DM_Pin OTG_HS_DP_Pin */
  GPIO_InitStruct.Pin = OTG_HS_ID_Pin|OTG_HS_DM_Pin|OTG_HS_DP_Pin;
  GPIO_InitStruct.Mode = GPIO_MODE_AF_PP;
  GPIO_InitStruct.Pull = GPIO_NOPULL;
  GPIO_InitStruct.Speed = GPIO_SPEED_FREQ_LOW;
  GPIO_InitStruct.Alternate = GPIO_AF12_OTG_HS_FS;
  HAL_GPIO_Init(GPIOB, &GPIO_InitStruct);

  /*Configure GPIO pin : VBUS_HS_Pin */
  GPIO_InitStruct.Pin = VBUS_HS_Pin;
  GPIO_InitStruct.Mode = GPIO_MODE_INPUT;
  GPIO_InitStruct.Pull = GPIO_NOPULL;
  HAL_GPIO_Init(VBUS_HS_GPIO_Port, &GPIO_InitStruct);

  /*Configure GPIO pins : D13_Pin D14_Pin D15_Pin D0_Pin
                           D1_Pin D2_Pin D3_Pin */
  GPIO_InitStruct.Pin = D13_Pin|D14_Pin|D15_Pin|D0_Pin
                          |D1_Pin|D2_Pin|D3_Pin;
  GPIO_InitStruct.Mode = GPIO_MODE_AF_PP;
  GPIO_InitStruct.Pull = GPIO_NOPULL;
  GPIO_InitStruct.Speed = GPIO_SPEED_FREQ_VERY_HIGH;
  GPIO_InitStruct.Alternate = GPIO_AF12_FMC;
  HAL_GPIO_Init(GPIOD, &GPIO_InitStruct);

  /*Configure GPIO pin : TE_Pin */
  GPIO_InitStruct.Pin = TE_Pin;
  GPIO_InitStruct.Mode = GPIO_MODE_INPUT;
  GPIO_InitStruct.Pull = GPIO_NOPULL;
  HAL_GPIO_Init(TE_GPIO_Port, &GPIO_InitStruct);

  /*Configure GPIO pins : RDX_Pin WRX_DCX_Pin */
  GPIO_InitStruct.Pin = RDX_Pin|WRX_DCX_Pin;
  GPIO_InitStruct.Mode = GPIO_MODE_OUTPUT_PP;
  GPIO_InitStruct.Pull = GPIO_NOPULL;
  GPIO_InitStruct.Speed = GPIO_SPEED_FREQ_LOW;
  HAL_GPIO_Init(GPIOD, &GPIO_InitStruct);

  /*Configure GPIO pins : R7_Pin DOTCLK_Pin B3_Pin */
  GPIO_InitStruct.Pin = R7_Pin|DOTCLK_Pin|B3_Pin;
  GPIO_InitStruct.Mode = GPIO_MODE_AF_PP;
  GPIO_InitStruct.Pull = GPIO_NOPULL;
  GPIO_InitStruct.Speed = GPIO_SPEED_FREQ_LOW;
  GPIO_InitStruct.Alternate = GPIO_AF14_LTDC;
  HAL_GPIO_Init(GPIOG, &GPIO_InitStruct);

  /*Configure GPIO pins : HSYNC_Pin G6_Pin R2_Pin */
  GPIO_InitStruct.Pin = HSYNC_Pin|G6_Pin|R2_Pin;
  GPIO_InitStruct.Mode = GPIO_MODE_AF_PP;
  GPIO_InitStruct.Pull = GPIO_NOPULL;
  GPIO_InitStruct.Speed = GPIO_SPEED_FREQ_LOW;
  GPIO_InitStruct.Alternate = GPIO_AF14_LTDC;
  HAL_GPIO_Init(GPIOC, &GPIO_InitStruct);

  /*Configure GPIO pin : I2C3_SDA_Pin */
  GPIO_InitStruct.Pin = I2C3_SDA_Pin;
  GPIO_InitStruct.Mode = GPIO_MODE_AF_OD;
  GPIO_InitStruct.Pull = GPIO_NOPULL;
  GPIO_InitStruct.Speed = GPIO_SPEED_FREQ_LOW;
  GPIO_InitStruct.Alternate = GPIO_AF4_I2C3;
  HAL_GPIO_Init(I2C3_SDA_GPIO_Port, &GPIO_InitStruct);

  /*Configure GPIO pin : I2C3_SCL_Pin */
  GPIO_InitStruct.Pin = I2C3_SCL_Pin;
  GPIO_InitStruct.Mode = GPIO_MODE_AF_OD;
  GPIO_InitStruct.Pull = GPIO_NOPULL;
  GPIO_InitStruct.Speed = GPIO_SPEED_FREQ_LOW;
  GPIO_InitStruct.Alternate = GPIO_AF4_I2C3;
  HAL_GPIO_Init(I2C3_SCL_GPIO_Port, &GPIO_InitStruct);

  /*Configure GPIO pins : STLINK_RX_Pin STLINK_TX_Pin */
  GPIO_InitStruct.Pin = STLINK_RX_Pin|STLINK_TX_Pin;
  GPIO_InitStruct.Mode = GPIO_MODE_AF_PP;
  GPIO_InitStruct.Pull = GPIO_NOPULL;
  GPIO_InitStruct.Speed = GPIO_SPEED_FREQ_VERY_HIGH;
  GPIO_InitStruct.Alternate = GPIO_AF7_USART1;
  HAL_GPIO_Init(GPIOA, &GPIO_InitStruct);

  /*Configure GPIO pins : G7_Pin B2_Pin */
  GPIO_InitStruct.Pin = G7_Pin|B2_Pin;
  GPIO_InitStruct.Mode = GPIO_MODE_AF_PP;
  GPIO_InitStruct.Pull = GPIO_NOPULL;
  GPIO_InitStruct.Speed = GPIO_SPEED_FREQ_LOW;
  GPIO_InitStruct.Alternate = GPIO_AF14_LTDC;
  HAL_GPIO_Init(GPIOD, &GPIO_InitStruct);

  /*Configure GPIO pins : G3_Pin B4_Pin */
  GPIO_InitStruct.Pin = G3_Pin|B4_Pin;
  GPIO_InitStruct.Mode = GPIO_MODE_AF_PP;
  GPIO_InitStruct.Pull = GPIO_NOPULL;
  GPIO_InitStruct.Speed = GPIO_SPEED_FREQ_LOW;
  GPIO_InitStruct.Alternate = GPIO_AF9_LTDC;
  HAL_GPIO_Init(GPIOG, &GPIO_InitStruct);

  /*Configure GPIO pins : LD3_Pin LD4_Pin */
  GPIO_InitStruct.Pin = LD3_Pin|LD4_Pin;
  GPIO_InitStruct.Mode = GPIO_MODE_OUTPUT_PP;
  GPIO_InitStruct.Pull = GPIO_NOPULL;
  GPIO_InitStruct.Speed = GPIO_SPEED_FREQ_LOW;
  HAL_GPIO_Init(GPIOG, &GPIO_InitStruct);

  /*Configure GPIO pins : SDCKE1_Pin SDNE1_Pin */
  GPIO_InitStruct.Pin = SDCKE1_Pin|SDNE1_Pin;
  GPIO_InitStruct.Mode = GPIO_MODE_AF_PP;
  GPIO_InitStruct.Pull = GPIO_NOPULL;
  GPIO_InitStruct.Speed = GPIO_SPEED_FREQ_VERY_HIGH;
  GPIO_InitStruct.Alternate = GPIO_AF12_FMC;
  HAL_GPIO_Init(GPIOB, &GPIO_InitStruct);

}

/* USER CODE BEGIN 4 */

static void led_green_handler(void* parameters)
{
	BaseType_t  status;
	while(1)
	{
		SEGGER_SYSVIEW_PrintfTarget("Toggling green LED");
		HAL_GPIO_TogglePin(GPIOG, LED_GREEN_PIN);
		status = xTaskNotifyWait(0,0,NULL,pdMS_TO_TICKS(1000));
		if(status == pdTRUE){
			vTaskSuspendAll();
			next_task_handle = ledr_task_handle;
			xTaskResumeAll();
			HAL_GPIO_WritePin(GPIOG, LED_GREEN_PIN,GPIO_PIN_SET);
			SEGGER_SYSVIEW_PrintfTarget("Delete green LED task");
			vTaskDelete(NULL);
		}

	}
}

static void led_red_handler(void* parameters)
{
	BaseType_t  status;

	while(1)
	{
		SEGGER_SYSVIEW_PrintfTarget("Toggling red LED");
		HAL_GPIO_TogglePin(GPIOG, LED_RED_PIN);
		status = xTaskNotifyWait(0,0,NULL,pdMS_TO_TICKS(400));
		if(status == pdTRUE){
			vTaskSuspendAll();
			next_task_handle = NULL;
			xTaskResumeAll();
			HAL_GPIO_WritePin(GPIOG, LED_RED_PIN,GPIO_PIN_SET);
			SEGGER_SYSVIEW_PrintfTarget("Delete red LED task");
			vTaskDelete(btn_task_handle);
			vTaskDelete(NULL);
		}

	}

}

static void button_handler(void* parameters)
{
	uint8_t btn_read = 0;
	uint8_t prev_read = 0;

	while(1){

		btn_read = HAL_GPIO_ReadPin(GPIOA, GPIO_PIN_0);

		if(btn_read)
		{
			if(! prev_read)
				xTaskNotify(next_task_handle,0,eNoAction);
		}
		prev_read = btn_read;
		vTaskDelay(pdMS_TO_TICKS(10));

	}

}

/* USER CODE END 4 */

void HAL_TIM_PeriodElapsedCallback(TIM_HandleTypeDef *htim)
{
  if (htim->Instance == TIM6) {
    HAL_IncTick();
  }
}

void Error_Handler(void)
{
  __disable_irq();
  while (1)
  {
  }
}

/************************ (C) COPYRIGHT STMicroelectronics *****END OF FILE****/
